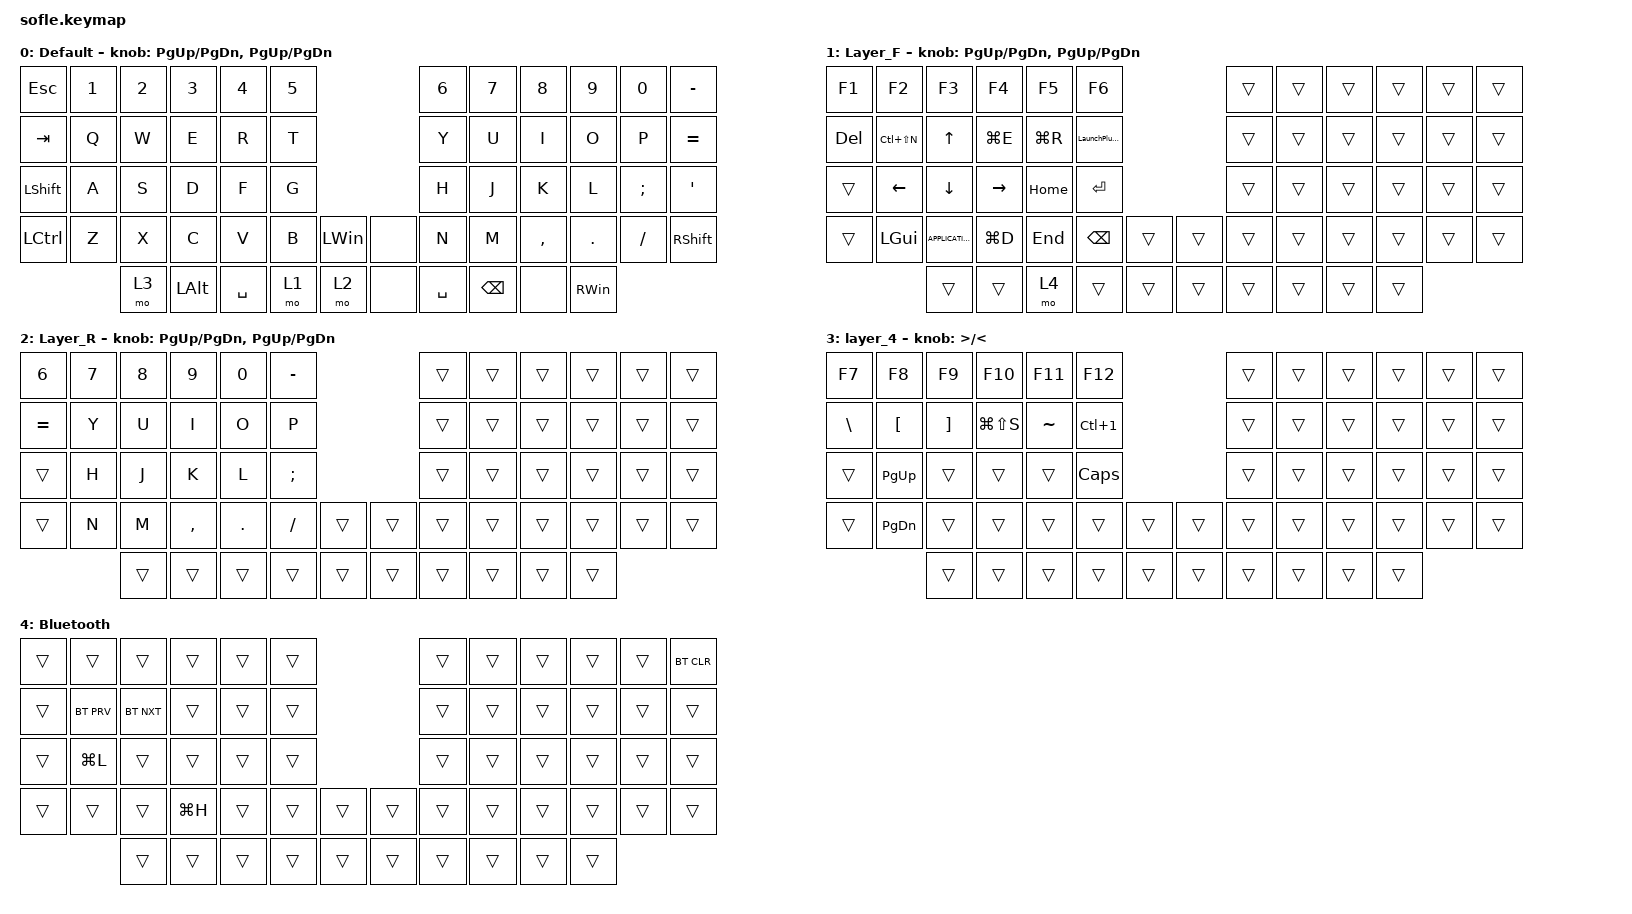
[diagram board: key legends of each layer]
/*
 * Copyright (c) 2020 The ZMK Contributors
 *
 * SPDX-License-Identifier: MIT
 */

#include <behaviors.dtsi>
#include <dt-bindings/zmk/bt.h>
#include <dt-bindings/zmk/keys.h>

#define BASE 0
#define LOWER 1
#define RAISE 2
#define ADJUST 3

/ {
    // Activate ADJUST layer by pressing raise and lower

    conditional_layers { compatible = "zmk,conditional-layers"; };

    macros {
        LaunchPlugin: LaunchPlugin {
            compatible = "zmk,behavior-macro";
            #binding-cells = <0>;
            bindings = <&macro_press>, <&kp LA(P) &kp KP_ENTER &kp KP_ENTER>;

            label = "LAUNCHPLUGIN";
        };
    };

    keymap {
        compatible = "zmk,keymap";

        Default {
            label = "Default";

            // ------------------------------------------------------------------------------------------------------------
            // |   `   |  1  |  2  |  3   |  4   |  5   |                   |  6   |  7    |  8    |  9   |   0   |       |
            // |  ESC  |  Q  |  W  |  E   |  R   |  T   |                   |  Y   |  U    |  I    |  O   |   P   | BKSPC |
            // |  TAB  |  A  |  S  |  D   |  F   |  G   |                   |  H   |  J    |  K    |  L   |   ;   |   '   |
            // | SHIFT |  Z  |  X  |  C   |  V   |  B   |  MUTE  |  |       |  N   |  M    |  ,    |  .   |   /   | SHIFT |
            //               | GUI | ALT  | CTRL | LOWER|  ENTER |  | SPACE | RAISE| CTRL  | ALT   | GUI  |

            bindings = <
&kp ESC           &kp N1  &kp N2  &kp N3    &kp N4     &kp N5                         &kp N6     &kp N7         &kp N8     &kp N9         &kp N0    &kp MINUS
&kp TAB           &kp Q   &kp W   &kp E     &kp R      &kp T                          &kp Y      &kp U          &kp I      &kp O          &kp P     &kp EQUAL
&kp LSHFT         &kp A   &kp S   &kp D     &kp F      &kp G                          &kp H      &kp J          &kp K      &kp L          &kp SEMI  &kp SQT
&kp LEFT_CONTROL  &kp Z   &kp X   &kp C     &kp V      &kp B   &kp LEFT_WIN    &none  &kp N      &kp M          &kp COMMA  &kp DOT        &kp FSLH  &kp RSHFT
                          &mo 3   &kp LALT  &kp SPACE  &mo 1   &mo 2           &none  &kp SPACE  &kp BACKSPACE  &none      &kp RIGHT_WIN
            >;

            sensor-bindings =
                <&inc_dec_kp PAGE_UP PAGE_DOWN>,
                <&inc_dec_kp PG_UP PG_DN>;
        };

        L1 {
            label = "Layer_F";

            // TODO: Some binds are waiting for shifted keycode support.
            // ------------------------------------------------------------------------------------------------------------
            // |       |  F1 |  F2 |  F3  |  F4  |  F5  |                   |  F6  |  F7   |  F8   |  F9  |  F10  |  F11  |
            // |   `   |  1  |  2  |  3   |  4   |  5   |                   |  6   |  7    |  8    |  9   |   0   |  F12  |
            // |       |  !  |  @  |  #   |  $   |  %   |                   |  ^   |  &    |  *    |  (   |   )   |   |   |
            // |       |  =  |  -  |  +   |  {   |  }   |        |  |       |  [   |  ]    |  ;    |  :   |   \   |       |
            //               |     |      |      |      |        |  |       |      |       |       |      |

            bindings = <
&kp F1      &kp F2          &kp F3             &kp F4           &kp F5     &kp F6                           &trans  &trans  &trans  &trans  &trans  &trans
&kp DELETE  &kp LC(LS(N))   &kp UP_ARROW       &kp LG(E)        &kp LG(R)  &LaunchPlugin                    &trans  &trans  &trans  &trans  &trans  &trans
&trans      &kp LEFT_ARROW  &kp DOWN_ARROW     &kp RIGHT_ARROW  &kp HOME   &kp ENTER                        &trans  &trans  &trans  &trans  &trans  &trans
&trans      &kp LEFT_GUI    &kp K_APPLICATION  &kp LG(D)        &kp END    &kp BACKSPACE  &trans    &trans  &trans  &trans  &trans  &trans  &trans  &trans
                            &trans             &trans           &mo 4      &trans         &trans    &trans  &trans  &trans  &trans  &trans
            >;

            sensor-bindings =
                <&inc_dec_kp PAGE_UP PAGE_DOWN>,
                <&inc_dec_kp PG_UP PG_DN>;
        };

        L2 {
            label = "Layer_R";

            // ------------------------------------------------------------------------------------------------------------
            // | BTCLR | BT1  | BT2  |  BT3  |  BT4  |  BT5 |                |      |      |       |      |       |       |
            // |       | INS  | PSCR | GUI   |       |      |                | PGUP |      |   ^   |      |       |       |
            // |       | ALT  | CTRL | SHIFT |       | CAPS |                | PGDN |   <- |   v   |  ->  |  DEL  | BKSPC |
            // |       | UNDO | CUT  | COPY  | PASTE |      |      |  |      |      |      |       |      |       |       |
            //                |      |       |       |      |      |  |      |      |      |       |      |

            bindings = <
&kp NUMBER_6  &kp N7  &kp N8  &kp N9     &kp N0      &kp MINUS                        &trans  &trans  &trans  &trans  &trans  &trans
&kp EQUAL     &kp Y   &kp U   &kp I      &kp O       &kp P                            &trans  &trans  &trans  &trans  &trans  &trans
&trans        &kp H   &kp J   &kp K      &kp L       &kp SEMICOLON                    &trans  &trans  &trans  &trans  &trans  &trans
&trans        &kp N   &kp M   &kp COMMA  &kp PERIOD  &kp SLASH      &trans    &trans  &trans  &trans  &trans  &trans  &trans  &trans
                      &trans  &trans     &trans      &trans         &trans    &trans  &trans  &trans  &trans  &trans
            >;

            sensor-bindings =
                <&inc_dec_kp PAGE_UP PAGE_DOWN>,
                <&inc_dec_kp PG_UP PG_DN>;
        };

        layer_4 {
            bindings = <
&kp F7    &kp F8         &kp F9    &kp F10        &kp F11    &kp F12                             &trans  &trans  &trans  &trans  &trans  &trans
&kp BSLH  &kp LBKT       &kp RBKT  &kp LG(LS(S))  &kp TILDE  &kp LC(NUMBER_1)                    &trans  &trans  &trans  &trans  &trans  &trans
&trans    &kp PAGE_UP    &trans    &trans         &trans     &kp CAPS                            &trans  &trans  &trans  &trans  &trans  &trans
&trans    &kp PAGE_DOWN  &trans    &trans         &trans     &trans            &trans    &trans  &trans  &trans  &trans  &trans  &trans  &trans
                         &trans    &trans         &trans     &trans            &trans    &trans  &trans  &trans  &trans  &trans
            >;

            sensor-bindings = <&inc_dec_kp GREATER_THAN LESS_THAN>;
        };

        L4 {
            bindings = <
&trans  &trans      &trans      &trans     &trans  &trans                    &trans  &trans  &trans  &trans  &trans  &bt BT_CLR
&trans  &bt BT_PRV  &bt BT_NXT  &trans     &trans  &trans                    &trans  &trans  &trans  &trans  &trans  &trans
&trans  &kp LG(L)   &trans      &trans     &trans  &trans                    &trans  &trans  &trans  &trans  &trans  &trans
&trans  &trans      &trans      &kp LG(H)  &trans  &trans  &trans    &trans  &trans  &trans  &trans  &trans  &trans  &trans
                    &trans      &trans     &trans  &trans  &trans    &trans  &trans  &trans  &trans  &trans
            >;

            label = "Bluetooth";
        };
    };
};
